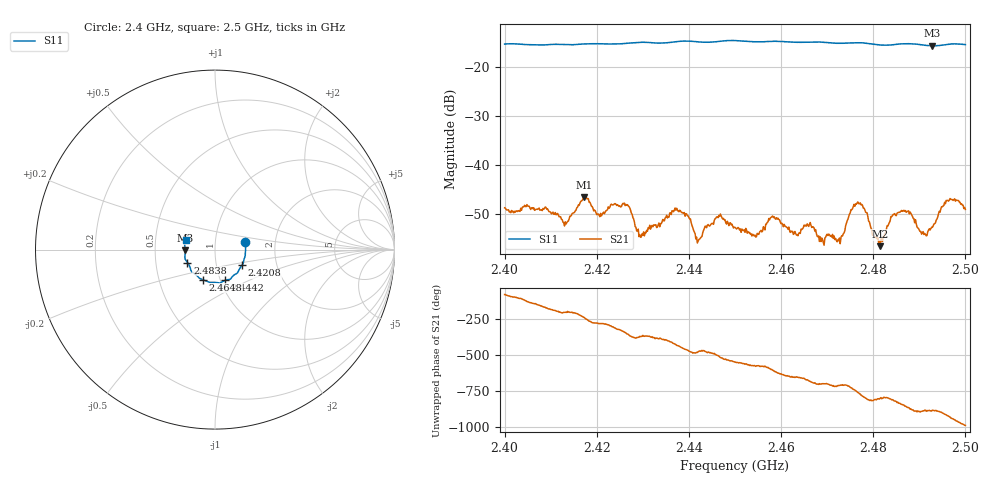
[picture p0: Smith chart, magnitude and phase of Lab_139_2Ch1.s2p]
# Hz S RI R 50
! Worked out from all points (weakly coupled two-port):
!   601 points, 2.4 GHz to 2.5 GHz, reference 50 ohm
!   highest |S21| = -46.56 dB at 2.4172 GHz (marker M1); lowest = -56.6 dB at 2.4815 GHz (marker M2)
!   lowest |S11| = -15.6 dB at 2.4928 GHz (marker M3), VSWR 1.40, Z = 35.8 - j0.359 ohm
!   |S11| at or under -10 dB: start of sweep to end of sweep
!   S12 and S22 are empty: the file has one direction only
!   S11 on the Smith chart (normalised r, x): 2.4 GHz: 1.40, +0.12; 2.4208 GHz: 1.33, -0.24; 2.4442 GHz: 1.05, -0.37; 2.4648 GHz: 0.83, -0.29; 2.4838 GHz: 0.73, -0.11; 2.5 GHz: 0.72, +0.08
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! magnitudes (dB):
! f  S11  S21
! 2.4 GHz  -15.2  -48.8
! 2.4132 GHz  -15.3  -51.6
! 2.4167 GHz  -15.2  -47.3
! 2.4172 GHz  -15.2  -46.6
! 2.4208 GHz  -15.2  -49.9
! 2.4262 GHz  -15.1  -48.3
! 2.4295 GHz  -14.9  -54.8
! 2.4333 GHz  -15.0  -52.2
! 2.437 GHz  -14.8  -48.8
! 2.442 GHz  -14.8  -55.6
! 2.4442 GHz  -14.9  -52.2
! 2.45 GHz  -14.5  -52.8
! 2.4648 GHz  -14.9  -52.8
! 2.4667 GHz  -14.8  -52.8
! 2.4725 GHz  -15.1  -55.5
! 2.477 GHz  -15.0  -47.9
! 2.4815 GHz  -15.4  -56.6
! 2.4833 GHz  -15.5  -52.1
! 2.4838 GHz  -15.4  -50.5
! 2.4928 GHz  -15.6  -52.8
! 2.4963 GHz  -15.3  -47.4
! 2.5 GHz  -15.4  -49.1
